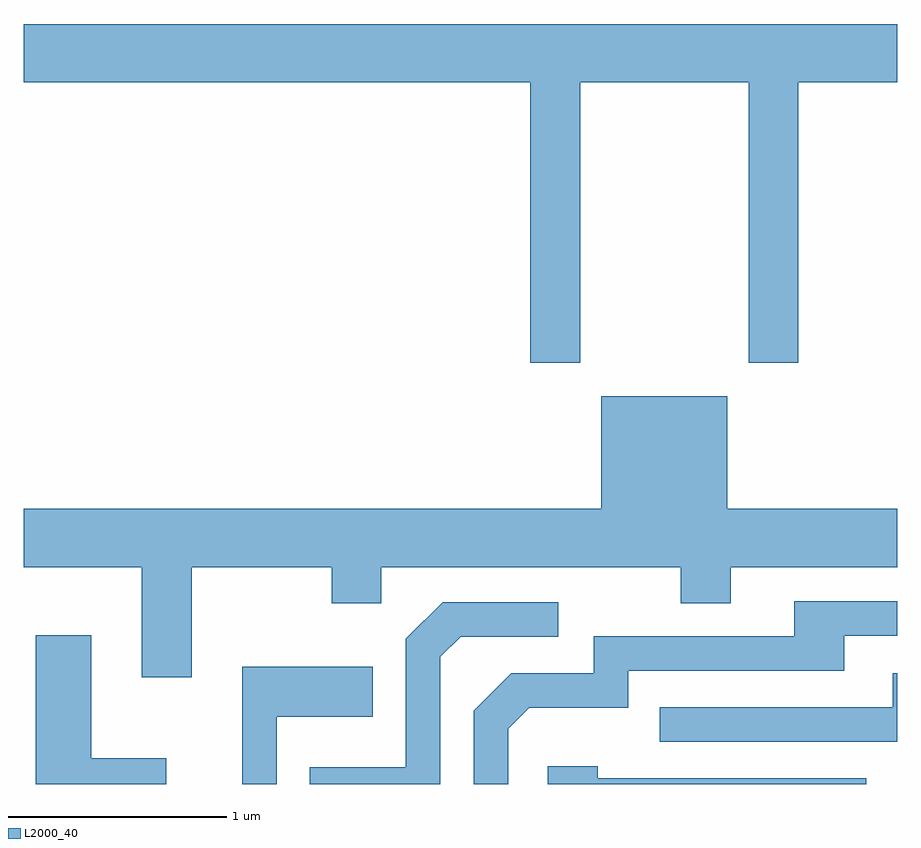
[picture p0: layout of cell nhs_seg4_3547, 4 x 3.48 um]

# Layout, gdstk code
import gdstk
lib = gdstk.Library(unit=1e-6, precision=1e-09)
def P(c, l, *ps):  # polygons
    for p in ps: c.add(gdstk.Polygon(p, *l))
L2000_40 = (2000, 40)

nhs_seg4_3547 = lib.new_cell('nhs_seg4_3547')
P(nhs_seg4_3547, L2000_40, [(292.159,1279.196),(292.931,1279.196),(292.931,1277.911),(293.159,1277.911),(293.159,1279.196),(293.611,1279.196),(293.611,1279.464),(289.611,1279.464),(289.611,1279.196),(291.931,1279.196),(291.931,1277.911),(292.159,1277.911)],
  [(290.379,1276.976),(291.021,1276.976),(291.021,1276.811),(291.249,1276.811),(291.249,1276.976),(292.621,1276.976),(292.621,1276.811),(292.849,1276.811),(292.849,1276.976),(293.611,1276.976),(293.611,1277.244),(292.834,1277.244),(292.834,1277.759),(292.256,1277.759),(292.256,1277.244),(289.611,1277.244),(289.611,1276.976),(290.151,1276.976),(290.151,1276.471),(290.379,1276.471)],
  [(291.829,1276.234),(291.927,1276.331),(292.379,1276.331),(292.379,1276.501),(293.369,1276.501),(293.369,1276.661),(293.611,1276.661),(293.611,1276.819),(293.141,1276.819),(293.141,1276.659),(292.221,1276.659),(292.221,1276.489),(291.844,1276.489),(291.671,1276.317),(291.671,1275.982),(291.829,1275.982)],
  [(291.519,1276.564),(291.612,1276.656),(292.058,1276.656),(292.058,1276.814),(291.529,1276.814),(291.361,1276.647),(291.361,1276.059),(290.921,1276.059),(290.921,1275.982),(291.519,1275.982)],
  [(290.264,1276.099),(289.919,1276.099),(289.919,1276.664),(289.666,1276.664),(289.666,1275.982),(290.264,1275.982)],
  [(290.769,1276.291),(291.209,1276.291),(291.209,1276.519),(290.611,1276.519),(290.611,1275.982),(290.769,1275.982)],
  [(293.611,1276.489),(293.591,1276.489),(293.591,1276.334),(292.523,1276.334),(292.523,1276.176),(293.611,1276.176)],
  [(293.469,1276.009),(292.239,1276.009),(292.239,1276.064),(292.011,1276.064),(292.011,1275.982),(293.469,1275.982)])

lib.write_gds('nhs_seg4_3547.gds')
